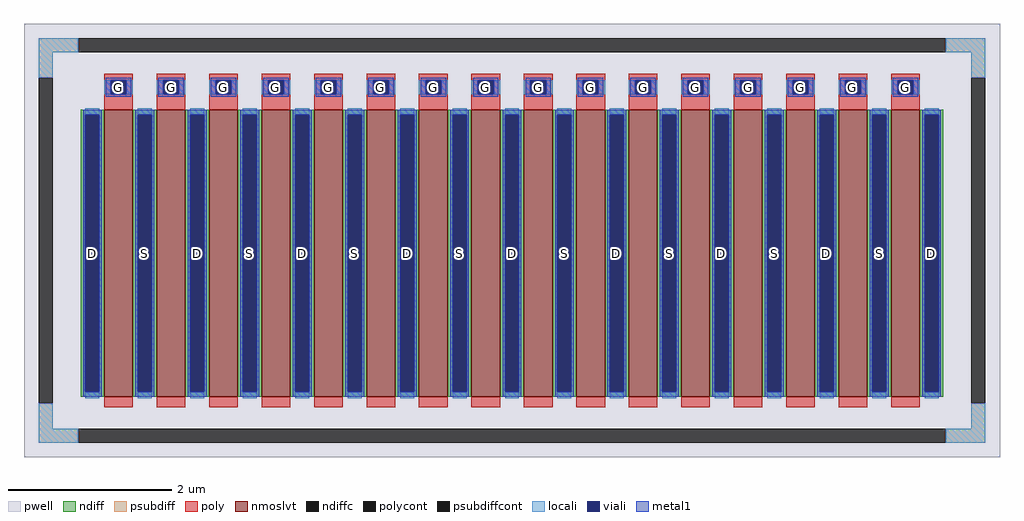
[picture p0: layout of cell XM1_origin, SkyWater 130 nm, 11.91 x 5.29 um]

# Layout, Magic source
magic
tech sky130A
magscale 1 2
<< pwell >>
rect -1191 -529 1191 529
<< nmoslvt >>
rect -995 -381 -925 319
rect -867 -381 -797 319
rect -739 -381 -669 319
rect -611 -381 -541 319
rect -483 -381 -413 319
rect -355 -381 -285 319
rect -227 -381 -157 319
rect -99 -381 -29 319
rect 29 -381 99 319
rect 157 -381 227 319
rect 285 -381 355 319
rect 413 -381 483 319
rect 541 -381 611 319
rect 669 -381 739 319
rect 797 -381 867 319
rect 925 -381 995 319
<< ndiff >>
rect -1053 307 -995 319
rect -1053 -369 -1041 307
rect -1007 -369 -995 307
rect -1053 -381 -995 -369
rect -925 307 -867 319
rect -925 -369 -913 307
rect -879 -369 -867 307
rect -925 -381 -867 -369
rect -797 307 -739 319
rect -797 -369 -785 307
rect -751 -369 -739 307
rect -797 -381 -739 -369
rect -669 307 -611 319
rect -669 -369 -657 307
rect -623 -369 -611 307
rect -669 -381 -611 -369
rect -541 307 -483 319
rect -541 -369 -529 307
rect -495 -369 -483 307
rect -541 -381 -483 -369
rect -413 307 -355 319
rect -413 -369 -401 307
rect -367 -369 -355 307
rect -413 -381 -355 -369
rect -285 307 -227 319
rect -285 -369 -273 307
rect -239 -369 -227 307
rect -285 -381 -227 -369
rect -157 307 -99 319
rect -157 -369 -145 307
rect -111 -369 -99 307
rect -157 -381 -99 -369
rect -29 307 29 319
rect -29 -369 -17 307
rect 17 -369 29 307
rect -29 -381 29 -369
rect 99 307 157 319
rect 99 -369 111 307
rect 145 -369 157 307
rect 99 -381 157 -369
rect 227 307 285 319
rect 227 -369 239 307
rect 273 -369 285 307
rect 227 -381 285 -369
rect 355 307 413 319
rect 355 -369 367 307
rect 401 -369 413 307
rect 355 -381 413 -369
rect 483 307 541 319
rect 483 -369 495 307
rect 529 -369 541 307
rect 483 -381 541 -369
rect 611 307 669 319
rect 611 -369 623 307
rect 657 -369 669 307
rect 611 -381 669 -369
rect 739 307 797 319
rect 739 -369 751 307
rect 785 -369 797 307
rect 739 -381 797 -369
rect 867 307 925 319
rect 867 -369 879 307
rect 913 -369 925 307
rect 867 -381 925 -369
rect 995 307 1053 319
rect 995 -369 1007 307
rect 1041 -369 1053 307
rect 995 -381 1053 -369
<< ndiffc >>
rect -1041 -369 -1007 307
rect -913 -369 -879 307
rect -785 -369 -751 307
rect -657 -369 -623 307
rect -529 -369 -495 307
rect -401 -369 -367 307
rect -273 -369 -239 307
rect -145 -369 -111 307
rect -17 -369 17 307
rect 111 -369 145 307
rect 239 -369 273 307
rect 367 -369 401 307
rect 495 -369 529 307
rect 623 -369 657 307
rect 751 -369 785 307
rect 879 -369 913 307
rect 1007 -369 1041 307
<< psubdiff >>
rect -1155 459 -1059 493
rect 1059 459 1155 493
rect -1155 397 -1121 459
rect 1121 397 1155 459
rect -1155 -459 -1121 -397
rect 1121 -459 1155 -397
rect -1155 -493 -1059 -459
rect 1059 -493 1155 -459
<< psubdiffcont >>
rect -1059 459 1059 493
rect -1155 -397 -1121 397
rect 1121 -397 1155 397
rect -1059 -493 1059 -459
<< poly >>
rect -995 391 -925 407
rect -995 357 -979 391
rect -941 357 -925 391
rect -995 319 -925 357
rect -867 391 -797 407
rect -867 357 -851 391
rect -813 357 -797 391
rect -867 319 -797 357
rect -739 391 -669 407
rect -739 357 -723 391
rect -685 357 -669 391
rect -739 319 -669 357
rect -611 391 -541 407
rect -611 357 -595 391
rect -557 357 -541 391
rect -611 319 -541 357
rect -483 391 -413 407
rect -483 357 -467 391
rect -429 357 -413 391
rect -483 319 -413 357
rect -355 391 -285 407
rect -355 357 -339 391
rect -301 357 -285 391
rect -355 319 -285 357
rect -227 391 -157 407
rect -227 357 -211 391
rect -173 357 -157 391
rect -227 319 -157 357
rect -99 391 -29 407
rect -99 357 -83 391
rect -45 357 -29 391
rect -99 319 -29 357
rect 29 391 99 407
rect 29 357 45 391
rect 83 357 99 391
rect 29 319 99 357
rect 157 391 227 407
rect 157 357 173 391
rect 211 357 227 391
rect 157 319 227 357
rect 285 391 355 407
rect 285 357 301 391
rect 339 357 355 391
rect 285 319 355 357
rect 413 391 483 407
rect 413 357 429 391
rect 467 357 483 391
rect 413 319 483 357
rect 541 391 611 407
rect 541 357 557 391
rect 595 357 611 391
rect 541 319 611 357
rect 669 391 739 407
rect 669 357 685 391
rect 723 357 739 391
rect 669 319 739 357
rect 797 391 867 407
rect 797 357 813 391
rect 851 357 867 391
rect 797 319 867 357
rect 925 391 995 407
rect 925 357 941 391
rect 979 357 995 391
rect 925 319 995 357
rect -995 -407 -925 -381
rect -867 -407 -797 -381
rect -739 -407 -669 -381
rect -611 -407 -541 -381
rect -483 -407 -413 -381
rect -355 -407 -285 -381
rect -227 -407 -157 -381
rect -99 -407 -29 -381
rect 29 -407 99 -381
rect 157 -407 227 -381
rect 285 -407 355 -381
rect 413 -407 483 -381
rect 541 -407 611 -381
rect 669 -407 739 -381
rect 797 -407 867 -381
rect 925 -407 995 -381
<< polycont >>
rect -979 357 -941 391
rect -851 357 -813 391
rect -723 357 -685 391
rect -595 357 -557 391
rect -467 357 -429 391
rect -339 357 -301 391
rect -211 357 -173 391
rect -83 357 -45 391
rect 45 357 83 391
rect 173 357 211 391
rect 301 357 339 391
rect 429 357 467 391
rect 557 357 595 391
rect 685 357 723 391
rect 813 357 851 391
rect 941 357 979 391
<< locali >>
rect -1155 459 -1059 493
rect 1059 459 1155 493
rect -1155 397 -1121 459
rect 1121 397 1155 459
rect -995 357 -979 391
rect -941 357 -925 391
rect -867 357 -851 391
rect -813 357 -797 391
rect -739 357 -723 391
rect -685 357 -669 391
rect -611 357 -595 391
rect -557 357 -541 391
rect -483 357 -467 391
rect -429 357 -413 391
rect -355 357 -339 391
rect -301 357 -285 391
rect -227 357 -211 391
rect -173 357 -157 391
rect -99 357 -83 391
rect -45 357 -29 391
rect 29 357 45 391
rect 83 357 99 391
rect 157 357 173 391
rect 211 357 227 391
rect 285 357 301 391
rect 339 357 355 391
rect 413 357 429 391
rect 467 357 483 391
rect 541 357 557 391
rect 595 357 611 391
rect 669 357 685 391
rect 723 357 739 391
rect 797 357 813 391
rect 851 357 867 391
rect 925 357 941 391
rect 979 357 995 391
rect -1041 307 -1007 323
rect -1041 -385 -1007 -369
rect -913 307 -879 323
rect -913 -385 -879 -369
rect -785 307 -751 323
rect -785 -385 -751 -369
rect -657 307 -623 323
rect -657 -385 -623 -369
rect -529 307 -495 323
rect -529 -385 -495 -369
rect -401 307 -367 323
rect -401 -385 -367 -369
rect -273 307 -239 323
rect -273 -385 -239 -369
rect -145 307 -111 323
rect -145 -385 -111 -369
rect -17 307 17 323
rect -17 -385 17 -369
rect 111 307 145 323
rect 111 -385 145 -369
rect 239 307 273 323
rect 239 -385 273 -369
rect 367 307 401 323
rect 367 -385 401 -369
rect 495 307 529 323
rect 495 -385 529 -369
rect 623 307 657 323
rect 623 -385 657 -369
rect 751 307 785 323
rect 751 -385 785 -369
rect 879 307 913 323
rect 879 -385 913 -369
rect 1007 307 1041 323
rect 1007 -385 1041 -369
rect -1155 -459 -1121 -397
rect 1121 -459 1155 -397
rect -1155 -493 -1059 -459
rect 1059 -493 1155 -459
<< viali >>
rect -979 357 -941 391
rect -851 357 -813 391
rect -723 357 -685 391
rect -595 357 -557 391
rect -467 357 -429 391
rect -339 357 -301 391
rect -211 357 -173 391
rect -83 357 -45 391
rect 45 357 83 391
rect 173 357 211 391
rect 301 357 339 391
rect 429 357 467 391
rect 557 357 595 391
rect 685 357 723 391
rect 813 357 851 391
rect 941 357 979 391
rect -1041 -369 -1007 307
rect -913 -369 -879 307
rect -785 -369 -751 307
rect -657 -369 -623 307
rect -529 -369 -495 307
rect -401 -369 -367 307
rect -273 -369 -239 307
rect -145 -369 -111 307
rect -17 -369 17 307
rect 111 -369 145 307
rect 239 -369 273 307
rect 367 -369 401 307
rect 495 -369 529 307
rect 623 -369 657 307
rect 751 -369 785 307
rect 879 -369 913 307
rect 1007 -369 1041 307
<< metal1 >>
rect -991 391 -929 397
rect -991 357 -979 391
rect -941 357 -929 391
rect -991 351 -929 357
rect -863 391 -801 397
rect -863 357 -851 391
rect -813 357 -801 391
rect -863 351 -801 357
rect -735 391 -673 397
rect -735 357 -723 391
rect -685 357 -673 391
rect -735 351 -673 357
rect -607 391 -545 397
rect -607 357 -595 391
rect -557 357 -545 391
rect -607 351 -545 357
rect -479 391 -417 397
rect -479 357 -467 391
rect -429 357 -417 391
rect -479 351 -417 357
rect -351 391 -289 397
rect -351 357 -339 391
rect -301 357 -289 391
rect -351 351 -289 357
rect -223 391 -161 397
rect -223 357 -211 391
rect -173 357 -161 391
rect -223 351 -161 357
rect -95 391 -33 397
rect -95 357 -83 391
rect -45 357 -33 391
rect -95 351 -33 357
rect 33 391 95 397
rect 33 357 45 391
rect 83 357 95 391
rect 33 351 95 357
rect 161 391 223 397
rect 161 357 173 391
rect 211 357 223 391
rect 161 351 223 357
rect 289 391 351 397
rect 289 357 301 391
rect 339 357 351 391
rect 289 351 351 357
rect 417 391 479 397
rect 417 357 429 391
rect 467 357 479 391
rect 417 351 479 357
rect 545 391 607 397
rect 545 357 557 391
rect 595 357 607 391
rect 545 351 607 357
rect 673 391 735 397
rect 673 357 685 391
rect 723 357 735 391
rect 673 351 735 357
rect 801 391 863 397
rect 801 357 813 391
rect 851 357 863 391
rect 801 351 863 357
rect 929 391 991 397
rect 929 357 941 391
rect 979 357 991 391
rect 929 351 991 357
rect -1047 307 -1001 319
rect -1047 -369 -1041 307
rect -1007 -369 -1001 307
rect -1047 -381 -1001 -369
rect -919 307 -873 319
rect -919 -369 -913 307
rect -879 -369 -873 307
rect -919 -381 -873 -369
rect -791 307 -745 319
rect -791 -369 -785 307
rect -751 -369 -745 307
rect -791 -381 -745 -369
rect -663 307 -617 319
rect -663 -369 -657 307
rect -623 -369 -617 307
rect -663 -381 -617 -369
rect -535 307 -489 319
rect -535 -369 -529 307
rect -495 -369 -489 307
rect -535 -381 -489 -369
rect -407 307 -361 319
rect -407 -369 -401 307
rect -367 -369 -361 307
rect -407 -381 -361 -369
rect -279 307 -233 319
rect -279 -369 -273 307
rect -239 -369 -233 307
rect -279 -381 -233 -369
rect -151 307 -105 319
rect -151 -369 -145 307
rect -111 -369 -105 307
rect -151 -381 -105 -369
rect -23 307 23 319
rect -23 -369 -17 307
rect 17 -369 23 307
rect -23 -381 23 -369
rect 105 307 151 319
rect 105 -369 111 307
rect 145 -369 151 307
rect 105 -381 151 -369
rect 233 307 279 319
rect 233 -369 239 307
rect 273 -369 279 307
rect 233 -381 279 -369
rect 361 307 407 319
rect 361 -369 367 307
rect 401 -369 407 307
rect 361 -381 407 -369
rect 489 307 535 319
rect 489 -369 495 307
rect 529 -369 535 307
rect 489 -381 535 -369
rect 617 307 663 319
rect 617 -369 623 307
rect 657 -369 663 307
rect 617 -381 663 -369
rect 745 307 791 319
rect 745 -369 751 307
rect 785 -369 791 307
rect 745 -381 791 -369
rect 873 307 919 319
rect 873 -369 879 307
rect 913 -369 919 307
rect 873 -381 919 -369
rect 1001 307 1047 319
rect 1001 -369 1007 307
rect 1041 -369 1047 307
rect 1001 -381 1047 -369
<< labels >>
flabel metal1 -960 374 -960 374 0 FreeSans 240 0 0 0 G
flabel metal1 -832 374 -832 374 0 FreeSans 240 0 0 0 G
flabel metal1 -704 374 -704 374 0 FreeSans 240 0 0 0 G
flabel metal1 -576 374 -576 374 0 FreeSans 240 0 0 0 G
flabel metal1 -448 374 -448 374 0 FreeSans 240 0 0 0 G
flabel metal1 -320 374 -320 374 0 FreeSans 240 0 0 0 G
flabel metal1 -192 374 -192 374 0 FreeSans 240 0 0 0 G
flabel metal1 -64 374 -64 374 0 FreeSans 240 0 0 0 G
flabel metal1 64 374 64 374 0 FreeSans 240 0 0 0 G
flabel metal1 192 374 192 374 0 FreeSans 240 0 0 0 G
flabel metal1 320 374 320 374 0 FreeSans 240 0 0 0 G
flabel metal1 448 374 448 374 0 FreeSans 240 0 0 0 G
flabel metal1 576 374 576 374 0 FreeSans 240 0 0 0 G
flabel metal1 704 374 704 374 0 FreeSans 240 0 0 0 G
flabel metal1 832 374 832 374 0 FreeSans 240 0 0 0 G
flabel metal1 960 374 960 374 0 FreeSans 240 0 0 0 G
flabel metal1 -1024 -31 -1024 -31 0 FreeSans 240 0 0 0 D
flabel metal1 -896 -31 -896 -31 0 FreeSans 240 0 0 0 S
flabel metal1 -768 -31 -768 -31 0 FreeSans 240 0 0 0 D
flabel metal1 -640 -31 -640 -31 0 FreeSans 240 0 0 0 S
flabel metal1 -512 -31 -512 -31 0 FreeSans 240 0 0 0 D
flabel metal1 -384 -31 -384 -31 0 FreeSans 240 0 0 0 S
flabel metal1 -256 -31 -256 -31 0 FreeSans 240 0 0 0 D
flabel metal1 -128 -31 -128 -31 0 FreeSans 240 0 0 0 S
flabel metal1 0 -31 0 -31 0 FreeSans 240 0 0 0 D
flabel metal1 128 -31 128 -31 0 FreeSans 240 0 0 0 S
flabel metal1 256 -31 256 -31 0 FreeSans 240 0 0 0 D
flabel metal1 384 -31 384 -31 0 FreeSans 240 0 0 0 S
flabel metal1 512 -31 512 -31 0 FreeSans 240 0 0 0 D
flabel metal1 640 -31 640 -31 0 FreeSans 240 0 0 0 S
flabel metal1 768 -31 768 -31 0 FreeSans 240 0 0 0 D
flabel metal1 896 -31 896 -31 0 FreeSans 240 0 0 0 S
flabel metal1 1024 -31 1024 -31 0 FreeSans 240 0 0 0 D
<< properties >>
string FIXED_BBOX -1138 -476 1138 476
<< end >>
